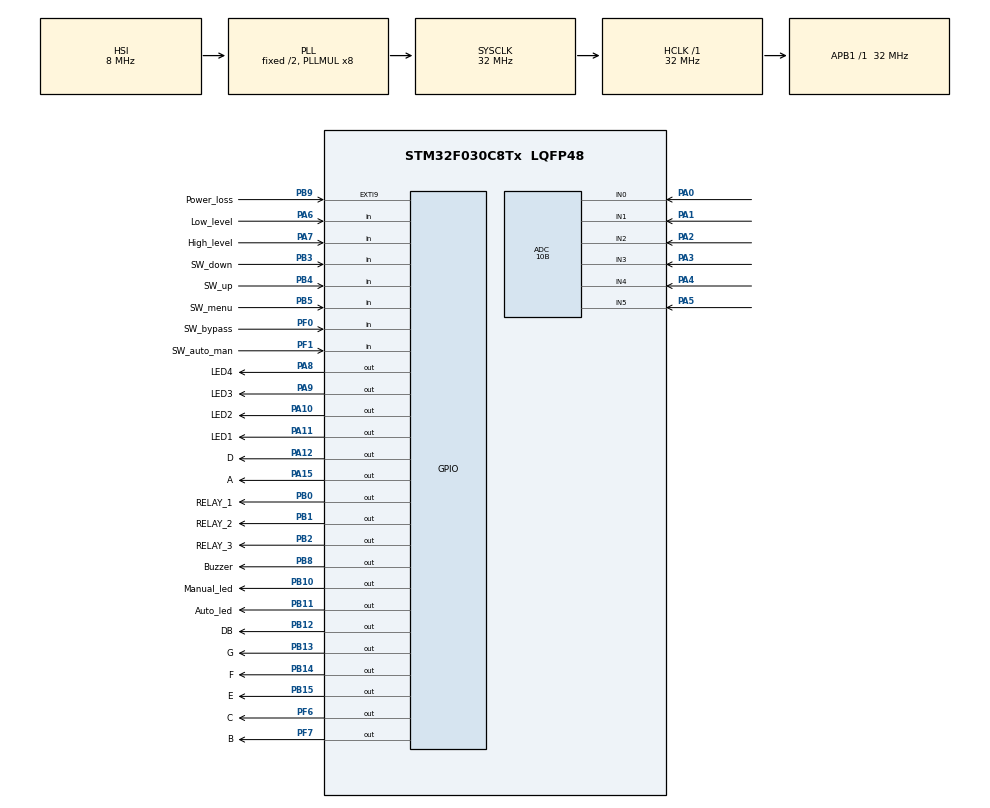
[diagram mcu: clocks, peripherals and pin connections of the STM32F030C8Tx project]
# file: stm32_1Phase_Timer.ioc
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ADC.ClockPrescaler=ADC_CLOCK_SYNC_PCLK_DIV4
ADC.ContinuousConvMode=ENABLE
ADC.DMAContinuousRequests=ENABLE
ADC.DataAlign=ADC_DATAALIGN_RIGHT
ADC.DiscontinuousConvMode=DISABLE
ADC.EOCSelection=ADC_EOC_SEQ_CONV
ADC.EnableAnalogWatchDog=false
ADC.ExternalTrigConv=ADC_SOFTWARE_START
ADC.ExternalTrigConvEdge=ADC_EXTERNALTRIGCONVEDGE_NONE
ADC.LowPowerAutoPowerOff=DISABLE
ADC.LowPowerAutoWait=DISABLE
ADC.Overrun=ADC_OVR_DATA_PRESERVED
ADC.Resolution=ADC_RESOLUTION_10B
ADC.SamplingTime=ADC_SAMPLETIME_239CYCLES_5
ADC.ScanConvMode=ADC_SCAN_DIRECTION_FORWARD
Dma.ADC.0.Direction=DMA_PERIPH_TO_MEMORY
Dma.ADC.0.Instance=DMA1_Channel1
Dma.ADC.0.MemDataAlignment=DMA_MDATAALIGN_WORD
Dma.ADC.0.MemInc=DMA_MINC_ENABLE
Dma.ADC.0.Mode=DMA_CIRCULAR
Dma.ADC.0.PeriphDataAlignment=DMA_PDATAALIGN_WORD
Dma.ADC.0.PeriphInc=DMA_PINC_DISABLE
Dma.ADC.0.Priority=DMA_PRIORITY_LOW
Dma.Request0=ADC
Mcu.Family=STM32F0
Mcu.Name=STM32F030C8Tx
Mcu.Package=LQFP48
NVIC.DMA1_Channel1_IRQn=true\:0\:0\:false\:false\:true\:false
NVIC.EXTI4_15_IRQn=true\:3\:0\:true\:false\:true\:true
NVIC.TIM17_IRQn=true\:0\:0\:false\:false\:true\:true
PA0.Mode=IN0
PA0.Signal=ADC_IN0
PA1.Mode=IN1
PA1.Signal=ADC_IN1
PA10.GPIO_Label=LED2
PA10.GPIO_ModeDefaultOutputPP=GPIO_MODE_OUTPUT_OD
PA10.PinState=GPIO_PIN_RESET
PA10.Signal=GPIO_Output
PA11.GPIO_Label=LED1
PA11.GPIO_ModeDefaultOutputPP=GPIO_MODE_OUTPUT_OD
PA11.Signal=GPIO_Output
PA12.GPIO_Label=D
PA12.GPIO_ModeDefaultOutputPP=GPIO_MODE_OUTPUT_OD
PA12.Signal=GPIO_Output
PA13.Mode=Serial_Wire
PA13.Signal=SYS_SWDIO
PA14.Mode=Serial_Wire
PA14.Signal=SYS_SWCLK
PA15.GPIO_Label=A
PA15.GPIO_ModeDefaultOutputPP=GPIO_MODE_OUTPUT_OD
PA15.Signal=GPIO_Output
PA2.Mode=IN2
PA2.Signal=ADC_IN2
PA3.Mode=IN3
PA3.Signal=ADC_IN3
PA4.Mode=IN4
PA4.Signal=ADC_IN4
PA5.Mode=IN5
PA5.Signal=ADC_IN5
PA6.GPIO_Label=Low_level
PA6.GPIO_PuPd=GPIO_PULLUP
PA6.Signal=GPIO_Input
PA7.GPIO_Label=High_level
PA7.GPIO_PuPd=GPIO_PULLUP
PA7.Signal=GPIO_Input
PA8.GPIO_Label=LED4
PA8.GPIO_ModeDefaultOutputPP=GPIO_MODE_OUTPUT_OD
PA8.Signal=GPIO_Output
PA9.GPIO_Label=LED3
PA9.GPIO_ModeDefaultOutputPP=GPIO_MODE_OUTPUT_OD
PA9.Signal=GPIO_Output
PB0.GPIO_Label=RELAY_1
PB0.Signal=GPIO_Output
PB1.GPIO_Label=RELAY_2
PB1.Signal=GPIO_Output
PB10.GPIO_Label=Manual_led
PB10.Signal=GPIO_Output
PB11.GPIO_Label=Auto_led
PB11.Signal=GPIO_Output
PB12.GPIO_Label=DB
PB12.GPIO_ModeDefaultOutputPP=GPIO_MODE_OUTPUT_OD
PB12.Signal=GPIO_Output
PB13.GPIO_Label=G
PB13.GPIO_ModeDefaultOutputPP=GPIO_MODE_OUTPUT_OD
PB13.Signal=GPIO_Output
PB14.GPIO_Label=F
PB14.GPIO_ModeDefaultOutputPP=GPIO_MODE_OUTPUT_OD
PB14.Signal=GPIO_Output
PB15.GPIO_Label=E
PB15.GPIO_ModeDefaultOutputPP=GPIO_MODE_OUTPUT_OD
PB15.Signal=GPIO_Output
PB2.GPIO_Label=RELAY_3
PB2.Signal=GPIO_Output
PB3.GPIO_Label=SW_down
PB3.GPIO_PuPd=GPIO_PULLUP
PB3.Signal=GPIO_Input
PB4.GPIO_Label=SW_up
PB4.GPIO_PuPd=GPIO_PULLUP
PB4.Signal=GPIO_Input
PB5.GPIO_Label=SW_menu
PB5.GPIO_PuPd=GPIO_PULLUP
PB5.Signal=GPIO_Input
PB8.GPIO_Label=Buzzer
PB8.GPIO_ModeDefaultOutputPP=GPIO_MODE_OUTPUT_OD
PB8.Signal=GPIO_Output
PB9.GPIO_Label=Power_loss
PB9.GPIO_ModeDefaultEXTI=GPIO_MODE_IT_FALLING
PB9.GPIO_PuPd=GPIO_PULLUP
PB9.Signal=GPXTI9
PC14-OSC32_IN.Mode=LSE-External-Oscillator
PC14-OSC32_IN.Signal=RCC_OSC32_IN
PC15-OSC32_OUT.Mode=LSE-External-Oscillator
PC15-OSC32_OUT.Signal=RCC_OSC32_OUT
PF0-OSC_IN.GPIO_Label=SW_bypass
PF0-OSC_IN.Signal=GPIO_Input
PF1-OSC_OUT.GPIO_Label=SW_auto_man
PF1-OSC_OUT.Signal=GPIO_Input
PF6.GPIO_Label=C
PF6.GPIO_ModeDefaultOutputPP=GPIO_MODE_OUTPUT_OD
PF6.Signal=GPIO_Output
PF7.GPIO_Label=B
PF7.GPIO_ModeDefaultOutputPP=GPIO_MODE_OUTPUT_OD
PF7.Signal=GPIO_Output
ProjectManager.HeapSize=0x200
ProjectManager.StackSize=0x400
ProjectManager.TargetToolchain=TrueSTUDIO
RCC.AHBFreq_Value=32000000
RCC.APB1Freq_Value=32000000
RCC.APB1TimFreq_Value=32000000
RCC.HCLKFreq_Value=32000000
RCC.PLLMUL=RCC_PLL_MUL8
RCC.SYSCLKFreq_VALUE=32000000
RCC.SYSCLKSource=RCC_SYSCLKSOURCE_PLLCLK
TIM17.AutoReloadPreload=TIM_AUTORELOAD_PRELOAD_ENABLE
TIM17.ClockDivision=TIM_CLOCKDIVISION_DIV4
TIM17.Period=65535
TIM17.Prescaler=2
VP_ADC_TempSens_Input.Mode=IN-TempSens
VP_ADC_Vref_Input.Mode=IN-Vrefint
VP_RTC_VS_RTC_Activate.Mode=RTC_Enabled
VP_RTC_VS_RTC_Calendar.Mode=RTC_Calendar
VP_TIM17_VS_ClockSourceINT.Mode=Enable_Timer
board=custom

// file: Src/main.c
/**
  ******************************************************************************
  * @file           : main.c
  * @brief          : Main program body
  ******************************************************************************
  ** This notice applies to any and all portions of this file
  * that are not between comment pairs USER CODE BEGIN and
  * USER CODE END. Other portions of this file, whether
  * inserted by the user or by software development tools
  * are owned by their respective copyright owners.
  *
  * COPYRIGHT(c) 2019 STMicroelectronics
  *
  * Redistribution and use in source and binary forms, with or without modification,
  * are permitted provided that the following conditions are met:
  *   1. Redistributions of source code must retain the above copyright notice,
  *      this list of conditions and the following disclaimer.
  *   2. Redistributions in binary form must reproduce the above copyright notice,
  *      this list of conditions and the following disclaimer in the documentation
  *      and/or other materials provided with the distribution.
  *   3. Neither the name of STMicroelectronics nor the names of its contributors
  *      may be used to endorse or promote products derived from this software
  *      without specific prior written permission.
  *
  * THIS SOFTWARE IS PROVIDED BY THE COPYRIGHT HOLDERS AND CONTRIBUTORS "AS IS"
  * AND ANY EXPRESS OR IMPLIED WARRANTIES, INCLUDING, BUT NOT LIMITED TO, THE
  * IMPLIED WARRANTIES OF MERCHANTABILITY AND FITNESS FOR A PARTICULAR PURPOSE ARE
  * DISCLAIMED. IN NO EVENT SHALL THE COPYRIGHT HOLDER OR CONTRIBUTORS BE LIABLE
  * FOR ANY DIRECT, INDIRECT, INCIDENTAL, SPECIAL, EXEMPLARY, OR CONSEQUENTIAL
  * DAMAGES (INCLUDING, BUT NOT LIMITED TO, PROCUREMENT OF SUBSTITUTE GOODS OR
  * SERVICES; LOSS OF USE, DATA, OR PROFITS; OR BUSINESS INTERRUPTION) HOWEVER
  * CAUSED AND ON ANY THEORY OF LIABILITY, WHETHER IN CONTRACT, STRICT LIABILITY,
  * OR TORT (INCLUDING NEGLIGENCE OR OTHERWISE) ARISING IN ANY WAY OUT OF THE USE
  * OF THIS SOFTWARE, EVEN IF ADVISED OF THE POSSIBILITY OF SUCH DAMAGE.
  *
  ******************************************************************************
  */
#include "main.h"
#include "stm32f0xx_hal.h"

/* USER CODE BEGIN Includes */
#include "stdbool.h"
#include "eeprom.h"
#include "Display.h"
#include "math.h"
#define VREFINT_CAL_ADDR (uint16_t*)((uint32_t)0x1FFFF7BA)

/* USER CODE END Includes */

ADC_HandleTypeDef hadc;
DMA_HandleTypeDef hdma_adc;

RTC_HandleTypeDef hrtc;

TIM_HandleTypeDef htim17;

/* USER CODE BEGIN PV */

RTC_DateTypeDef gDate;
RTC_TimeTypeDef gTime;

volatile bool Blink_digit = 0;
volatile uint8_t D1,D2,D3,D4;
volatile uint8_t MENU = 1 ;
uint32_t  adc_val[8];
uint16_t VirtAddVarTab[NB_OF_VAR] = {0x1000,0x1001,0x1002,0x1003,0x1004,0x1005,0x1006,0x1008,0x1009,0x1010};
uint16_t VarDataTab[NB_OF_VAR]    = {1,2,3,4,5,6,7,8,9,10,11};
uint16_t VarValue = 0;
uint16_t CT_Sample=1;
int32_t V1,V2,V3;
int32_t Total_Sample;
float CT1_amp=0,Voltage,Current_rms=0,Voltage_rms=0;
/* USER CODE END PV */

void SystemClock_Config(void);
static void MX_GPIO_Init(void);
static void MX_DMA_Init(void);
static void MX_ADC_Init(void);
static void MX_RTC_Init(void);
static void MX_TIM17_Init(void);

/* USER CODE BEGIN PFP */
void Count   ();
/* USER CODE END PFP */

/* USER CODE BEGIN 0 */
void Count  ()
{
D1 = gTime.Minutes/10;
D2 = gTime.Minutes%10;
D3 = gTime.Seconds/10;
D4 = gTime.Seconds%10;
}

void get_time(void)
{

  /* Get the RTC current Time */
  HAL_RTC_GetTime(&hrtc, &gTime, RTC_FORMAT_BIN);
  /* Get the RTC current Date */
  HAL_RTC_GetDate(&hrtc, &gDate, RTC_FORMAT_BIN);
}

void HAL_GPIO_EXTI_Callback(uint16_t GPIO_Pin)
{
  if (GPIO_Pin == Power_loss_Pin)
  {
    /* Toggle LED3 */
	  HAL_GPIO_TogglePin(GPIOB ,Buzzer_Pin);

  }
}

void HAL_TIM_PeriodElapsedCallback(TIM_HandleTypeDef *htim)
{

if(htim->Instance == htim17.Instance)
{
 switch(MENU)
 {

 case 1 :
 {
	Display_event(D1,D2,D3,D4,Blink_1HZ);
    break;
 }
 case 2 :
 {
	Display_event(CHAR_A,CHAR_B,CHAR_C,CHAR_D,Blink_1_Digit);
	break;
 }
 case 3 :
 {
    Display_event(CHAR_F,CHAR_G,CHAR_h,CHAR__,Blink_ALL_Digit);
    break;
 }
 case 4 :
 {
	 Display_event(9,10,11,12,Blink_3_Digit);
	 break;
 }
 case 5 :
 {

	 Display_event(13,14,15,16,Blink_4_Digit);
	 break;
 }
 case 6 :
 {
	Display_event(17,18,19,20,5);
	break;

 }
 case 7 :
 {
	 Display_event(21,22,23,24,6);
	 break;
 }
 case 8 :
 {
	 Display_event(25,26,36,27,7);
	 break;

 }
 case 9 :
 {
	 Display_event(28,29,30,32,8);
	 break;

 }
 case 10 :
 {
	 Display_event(37,38,39,40,9);
	 break;

 }

 }

}

}

void HAL_ADC_ConvCpltCallback(ADC_HandleTypeDef* hadc)

{

/*
 for (int i = 0; i<8;i++)
 {

  //adc_val[i]  = adc_buf[i]; //*calibration;  // store the values in adc_val from buffer

 }
*/

CT_Sample++;

V1 += adc_val[7];
V2 += adc_val[0];
V3 += adc_val[1];

if(CT_Sample>=1000)
{

	Current_rms = (V2/CT_Sample);
	Voltage_rms = (V3/CT_Sample);
	V1          = (V1/CT_Sample);

	Current_rms =  (3.3 *(*VREFINT_CAL_ADDR)*Current_rms)/(V1*4095);
	Voltage_rms =  (3.3 *(*VREFINT_CAL_ADDR)*Voltage_rms)/(V1*4095);
	CT1_amp     =  Current_rms /0.047;
	Voltage     =  Voltage_rms*100;
	Voltage     += 6.0;
	if(CT1_amp<20.0&&CT1_amp>0.1)
	{
		CT1_amp +=0.7;
	}
	CT_Sample=1;
	V1 = 0;
	V2 = 0;
	V3 = 0;
}

}
/* USER CODE END 0 */

int main(void)
{

  /* MCU Configuration----------------------------------------------------------*/

  /* Reset of all peripherals, Initializes the Flash interface and the Systick. */
  HAL_Init();

  /* Configure the system clock */
  SystemClock_Config();

  /* USER CODE BEGIN SysInit */
  HAL_FLASH_Unlock();
  /* EEPROM Init */
  EE_Init();
  /* USER CODE END SysInit */

  /* Initialize all configured peripherals */
  MX_GPIO_Init();
  MX_DMA_Init();
  MX_ADC_Init();
  MX_RTC_Init();
  MX_TIM17_Init();
  /* USER CODE BEGIN 2 */
    EE_ReadVariable(VirtAddVarTab[9], &VarDataTab[9]);
     VarValue  = VarDataTab[9];
    EE_WriteVariable(VirtAddVarTab[7], VarValue++);
    EE_WriteVariable(VirtAddVarTab[8], VarValue++);
    EE_WriteVariable(VirtAddVarTab[9], VarValue++);

    /* read the last stored variables data*/
    EE_ReadVariable(VirtAddVarTab[7], &VarDataTab[7]);
    EE_ReadVariable(VirtAddVarTab[8], &VarDataTab[8]);
    EE_ReadVariable(VirtAddVarTab[9], &VarDataTab[9]);
  HAL_TIM_Base_Start_IT(&htim17);
  HAL_ADC_Start_DMA (&hadc, (uint32_t *)adc_val, 8);

  /* USER CODE END 2 */

  /* Infinite loop */
  /* USER CODE BEGIN WHILE */
  while(1)
  {
	  get_time();
	  Count  ();

		if((HAL_GPIO_ReadPin(GPIOB ,SW_menu_Pin)==0)) //||
		{

			MENU++;

			if(MENU>10)
			{
			 MENU=1;

			}
			HAL_Delay(1000);
		}
		if(HAL_GPIO_ReadPin(GPIOB ,SW_up_Pin)==0)
		{
			MENU--;
			if(MENU<=0)
			{
			 MENU=10;

			}
			HAL_Delay(1000);

		}
		if(HAL_GPIO_ReadPin(GPIOB ,SW_down_Pin)==0)
		{
			//HAL_GPIO_TogglePin(GPIOB ,Buzzer_Pin);

		}
		HAL_GPIO_TogglePin(GPIOA ,GPIO_PIN_13);
		HAL_Delay(10);

  }
  /* USER CODE END WHILE */

}

void SystemClock_Config(void)
{

  RCC_OscInitTypeDef RCC_OscInitStruct;
  RCC_ClkInitTypeDef RCC_ClkInitStruct;
  RCC_PeriphCLKInitTypeDef PeriphClkInit;

    /**Initializes the CPU, AHB and APB busses clocks
    */
  RCC_OscInitStruct.OscillatorType = RCC_OSCILLATORTYPE_HSI|RCC_OSCILLATORTYPE_LSI;
  RCC_OscInitStruct.HSIState = RCC_HSI_ON;
  RCC_OscInitStruct.HSICalibrationValue = 16;
  RCC_OscInitStruct.LSIState = RCC_LSI_ON;
  RCC_OscInitStruct.PLL.PLLState = RCC_PLL_ON;
  RCC_OscInitStruct.PLL.PLLSource = RCC_PLLSOURCE_HSI;
  RCC_OscInitStruct.PLL.PLLMUL = RCC_PLL_MUL8;
  RCC_OscInitStruct.PLL.PREDIV = RCC_PREDIV_DIV1;
  if (HAL_RCC_OscConfig(&RCC_OscInitStruct) != HAL_OK)
  {
    _Error_Handler(__FILE__, __LINE__);
  }

    /**Initializes the CPU, AHB and APB busses clocks
    */
  RCC_ClkInitStruct.ClockType = RCC_CLOCKTYPE_HCLK|RCC_CLOCKTYPE_SYSCLK
                              |RCC_CLOCKTYPE_PCLK1;
  RCC_ClkInitStruct.SYSCLKSource = RCC_SYSCLKSOURCE_PLLCLK;
  RCC_ClkInitStruct.AHBCLKDivider = RCC_SYSCLK_DIV1;
  RCC_ClkInitStruct.APB1CLKDivider = RCC_HCLK_DIV1;

  if (HAL_RCC_ClockConfig(&RCC_ClkInitStruct, FLASH_LATENCY_1) != HAL_OK)
  {
    _Error_Handler(__FILE__, __LINE__);
  }

  PeriphClkInit.PeriphClockSelection = RCC_PERIPHCLK_RTC;
  PeriphClkInit.RTCClockSelection = RCC_RTCCLKSOURCE_LSI;
  if (HAL_RCCEx_PeriphCLKConfig(&PeriphClkInit) != HAL_OK)
  {
    _Error_Handler(__FILE__, __LINE__);
  }

    /**Configure the Systick interrupt time
    */
  HAL_SYSTICK_Config(HAL_RCC_GetHCLKFreq()/1000);

    /**Configure the Systick
    */
  HAL_SYSTICK_CLKSourceConfig(SYSTICK_CLKSOURCE_HCLK);

  /* SysTick_IRQn interrupt configuration */
  HAL_NVIC_SetPriority(SysTick_IRQn, 0, 0);
}

/* ADC init function */
static void MX_ADC_Init(void)
{

  ADC_ChannelConfTypeDef sConfig;

    /**Configure the global features of the ADC (Clock, Resolution, Data Alignment and number of conversion)
    */
  hadc.Instance = ADC1;
  hadc.Init.ClockPrescaler = ADC_CLOCK_SYNC_PCLK_DIV4;
  hadc.Init.Resolution = ADC_RESOLUTION_10B;
  hadc.Init.DataAlign = ADC_DATAALIGN_RIGHT;
  hadc.Init.ScanConvMode = ADC_SCAN_DIRECTION_FORWARD;
  hadc.Init.EOCSelection = ADC_EOC_SEQ_CONV;
  hadc.Init.LowPowerAutoWait = DISABLE;
  hadc.Init.LowPowerAutoPowerOff = DISABLE;
  hadc.Init.ContinuousConvMode = ENABLE;
  hadc.Init.DiscontinuousConvMode = DISABLE;
  hadc.Init.ExternalTrigConv = ADC_SOFTWARE_START;
  hadc.Init.ExternalTrigConvEdge = ADC_EXTERNALTRIGCONVEDGE_NONE;
  hadc.Init.DMAContinuousRequests = ENABLE;
  hadc.Init.Overrun = ADC_OVR_DATA_PRESERVED;
  if (HAL_ADC_Init(&hadc) != HAL_OK)
  {
    _Error_Handler(__FILE__, __LINE__);
  }

    /**Configure for the selected ADC regular channel to be converted.
    */
  sConfig.Channel = ADC_CHANNEL_0;
  sConfig.Rank = ADC_RANK_CHANNEL_NUMBER;
  sConfig.SamplingTime = ADC_SAMPLETIME_239CYCLES_5;
  if (HAL_ADC_ConfigChannel(&hadc, &sConfig) != HAL_OK)
  {
    _Error_Handler(__FILE__, __LINE__);
  }

    /**Configure for the selected ADC regular channel to be converted.
    */
  sConfig.Channel = ADC_CHANNEL_1;
  if (HAL_ADC_ConfigChannel(&hadc, &sConfig) != HAL_OK)
  {
    _Error_Handler(__FILE__, __LINE__);
  }

    /**Configure for the selected ADC regular channel to be converted.
    */
  sConfig.Channel = ADC_CHANNEL_2;
  if (HAL_ADC_ConfigChannel(&hadc, &sConfig) != HAL_OK)
  {
    _Error_Handler(__FILE__, __LINE__);
  }

    /**Configure for the selected ADC regular channel to be converted.
    */
  sConfig.Channel = ADC_CHANNEL_3;
  if (HAL_ADC_ConfigChannel(&hadc, &sConfig) != HAL_OK)
  {
    _Error_Handler(__FILE__, __LINE__);
  }

    /**Configure for the selected ADC regular channel to be converted.
    */
  sConfig.Channel = ADC_CHANNEL_4;
  if (HAL_ADC_ConfigChannel(&hadc, &sConfig) != HAL_OK)
  {
    _Error_Handler(__FILE__, __LINE__);
  }

    /**Configure for the selected ADC regular channel to be converted.
    */
  sConfig.Channel = ADC_CHANNEL_5;
  if (HAL_ADC_ConfigChannel(&hadc, &sConfig) != HAL_OK)
  {
    _Error_Handler(__FILE__, __LINE__);
  }

    /**Configure for the selected ADC regular channel to be converted.
    */
  sConfig.Channel = ADC_CHANNEL_TEMPSENSOR;
  if (HAL_ADC_ConfigChannel(&hadc, &sConfig) != HAL_OK)
  {
    _Error_Handler(__FILE__, __LINE__);
  }

    /**Configure for the selected ADC regular channel to be converted.
    */
  sConfig.Channel = ADC_CHANNEL_VREFINT;
  if (HAL_ADC_ConfigChannel(&hadc, &sConfig) != HAL_OK)
  {
    _Error_Handler(__FILE__, __LINE__);
  }

}

/* RTC init function */
static void MX_RTC_Init(void)
{

  RTC_TimeTypeDef sTime;
  RTC_DateTypeDef sDate;

    /**Initialize RTC Only
    */
  hrtc.Instance = RTC;
  hrtc.Init.HourFormat = RTC_HOURFORMAT_24;
  hrtc.Init.AsynchPrediv = 127;
  hrtc.Init.SynchPrediv = 255;
  hrtc.Init.OutPut = RTC_OUTPUT_DISABLE;
  hrtc.Init.OutPutPolarity = RTC_OUTPUT_POLARITY_HIGH;
  hrtc.Init.OutPutType = RTC_OUTPUT_TYPE_OPENDRAIN;
  if (HAL_RTC_Init(&hrtc) != HAL_OK)
  {
    _Error_Handler(__FILE__, __LINE__);
  }

    /**Initialize RTC and set the Time and Date
    */
  sTime.Hours = 0x0;
  sTime.Minutes = 0x0;
  sTime.Seconds = 0x0;
  sTime.DayLightSaving = RTC_DAYLIGHTSAVING_NONE;
  sTime.StoreOperation = RTC_STOREOPERATION_RESET;
  if (HAL_RTC_SetTime(&hrtc, &sTime, RTC_FORMAT_BCD) != HAL_OK)
  {
    _Error_Handler(__FILE__, __LINE__);
  }

  sDate.WeekDay = RTC_WEEKDAY_MONDAY;
  sDate.Month = RTC_MONTH_JANUARY;
  sDate.Date = 0x1;
  sDate.Year = 0x0;

  if (HAL_RTC_SetDate(&hrtc, &sDate, RTC_FORMAT_BCD) != HAL_OK)
  {
    _Error_Handler(__FILE__, __LINE__);
  }

}

/* TIM17 init function */
static void MX_TIM17_Init(void)
{

  htim17.Instance = TIM17;
  htim17.Init.Prescaler = 2;
  htim17.Init.CounterMode = TIM_COUNTERMODE_UP;
  htim17.Init.Period = 65535;
  htim17.Init.ClockDivision = TIM_CLOCKDIVISION_DIV4;
  htim17.Init.RepetitionCounter = 0;
  htim17.Init.AutoReloadPreload = TIM_AUTORELOAD_PRELOAD_ENABLE;
  if (HAL_TIM_Base_Init(&htim17) != HAL_OK)
  {
    _Error_Handler(__FILE__, __LINE__);
  }

}

static void MX_DMA_Init(void)
{
  /* DMA controller clock enable */
  __HAL_RCC_DMA1_CLK_ENABLE();

  /* DMA interrupt init */
  /* DMA1_Channel1_IRQn interrupt configuration */
  HAL_NVIC_SetPriority(DMA1_Channel1_IRQn, 0, 0);
  HAL_NVIC_EnableIRQ(DMA1_Channel1_IRQn);

}

/** Configure pins as
        * Analog
        * Input
        * Output
        * EVENT_OUT
        * EXTI
*/
static void MX_GPIO_Init(void)
{

  GPIO_InitTypeDef GPIO_InitStruct;

  /* GPIO Ports Clock Enable */
  __HAL_RCC_GPIOC_CLK_ENABLE();
  __HAL_RCC_GPIOF_CLK_ENABLE();
  __HAL_RCC_GPIOA_CLK_ENABLE();
  __HAL_RCC_GPIOB_CLK_ENABLE();

  /*Configure GPIO pin Output Level */
  HAL_GPIO_WritePin(GPIOB, RELAY_1_Pin|RELAY_2_Pin|RELAY_3_Pin|Manual_led_Pin
                          |Auto_led_Pin|DB_Pin|G_Pin|F_Pin
                          |E_Pin|Buzzer_Pin, GPIO_PIN_RESET);

  /*Configure GPIO pin Output Level */
  HAL_GPIO_WritePin(GPIOA, LED4_Pin|LED3_Pin|LED2_Pin|LED1_Pin
                          |D_Pin|A_Pin, GPIO_PIN_RESET);

  /*Configure GPIO pin Output Level */
  HAL_GPIO_WritePin(GPIOF, C_Pin|B_Pin, GPIO_PIN_RESET);

  /*Configure GPIO pins : SW_bypass_Pin SW_auto_man_Pin */
  GPIO_InitStruct.Pin = SW_bypass_Pin|SW_auto_man_Pin;
  GPIO_InitStruct.Mode = GPIO_MODE_INPUT;
  GPIO_InitStruct.Pull = GPIO_NOPULL;
  HAL_GPIO_Init(GPIOF, &GPIO_InitStruct);

  /*Configure GPIO pins : Low_level_Pin High_level_Pin */
  GPIO_InitStruct.Pin = Low_level_Pin|High_level_Pin;
  GPIO_InitStruct.Mode = GPIO_MODE_INPUT;
  GPIO_InitStruct.Pull = GPIO_PULLUP;
  HAL_GPIO_Init(GPIOA, &GPIO_InitStruct);

  /*Configure GPIO pins : RELAY_1_Pin RELAY_2_Pin RELAY_3_Pin Manual_led_Pin
                           Auto_led_Pin */
  GPIO_InitStruct.Pin = RELAY_1_Pin|RELAY_2_Pin|RELAY_3_Pin|Manual_led_Pin
                          |Auto_led_Pin;
  GPIO_InitStruct.Mode = GPIO_MODE_OUTPUT_PP;
  GPIO_InitStruct.Pull = GPIO_NOPULL;
  GPIO_InitStruct.Speed = GPIO_SPEED_FREQ_LOW;
  HAL_GPIO_Init(GPIOB, &GPIO_InitStruct);

  /*Configure GPIO pins : DB_Pin G_Pin F_Pin E_Pin
                           Buzzer_Pin */
  GPIO_InitStruct.Pin = DB_Pin|G_Pin|F_Pin|E_Pin
                          |Buzzer_Pin;
  GPIO_InitStruct.Mode = GPIO_MODE_OUTPUT_OD;
  GPIO_InitStruct.Pull = GPIO_NOPULL;
  GPIO_InitStruct.Speed = GPIO_SPEED_FREQ_LOW;
  HAL_GPIO_Init(GPIOB, &GPIO_InitStruct);

  /*Configure GPIO pins : LED4_Pin LED3_Pin LED2_Pin LED1_Pin
                           D_Pin A_Pin */
  GPIO_InitStruct.Pin = LED4_Pin|LED3_Pin|LED2_Pin|LED1_Pin
                          |D_Pin|A_Pin;
  GPIO_InitStruct.Mode = GPIO_MODE_OUTPUT_OD;
  GPIO_InitStruct.Pull = GPIO_NOPULL;
  GPIO_InitStruct.Speed = GPIO_SPEED_FREQ_LOW;
  HAL_GPIO_Init(GPIOA, &GPIO_InitStruct);

  /*Configure GPIO pins : C_Pin B_Pin */
  GPIO_InitStruct.Pin = C_Pin|B_Pin;
  GPIO_InitStruct.Mode = GPIO_MODE_OUTPUT_OD;
  GPIO_InitStruct.Pull = GPIO_NOPULL;
  GPIO_InitStruct.Speed = GPIO_SPEED_FREQ_LOW;
  HAL_GPIO_Init(GPIOF, &GPIO_InitStruct);

  /*Configure GPIO pins : SW_down_Pin SW_up_Pin SW_menu_Pin */
  GPIO_InitStruct.Pin = SW_down_Pin|SW_up_Pin|SW_menu_Pin;
  GPIO_InitStruct.Mode = GPIO_MODE_INPUT;
  GPIO_InitStruct.Pull = GPIO_PULLUP;
  HAL_GPIO_Init(GPIOB, &GPIO_InitStruct);

  /*Configure GPIO pin : Power_loss_Pin */
  GPIO_InitStruct.Pin = Power_loss_Pin;
  GPIO_InitStruct.Mode = GPIO_MODE_IT_FALLING;
  GPIO_InitStruct.Pull = GPIO_PULLUP;
  HAL_GPIO_Init(Power_loss_GPIO_Port, &GPIO_InitStruct);

  /* EXTI interrupt init*/
  HAL_NVIC_SetPriority(EXTI4_15_IRQn, 3, 0);
  HAL_NVIC_EnableIRQ(EXTI4_15_IRQn);

}

void _Error_Handler(char *file, int line)
{
}

/************************ (C) COPYRIGHT STMicroelectronics *****END OF FILE****/
